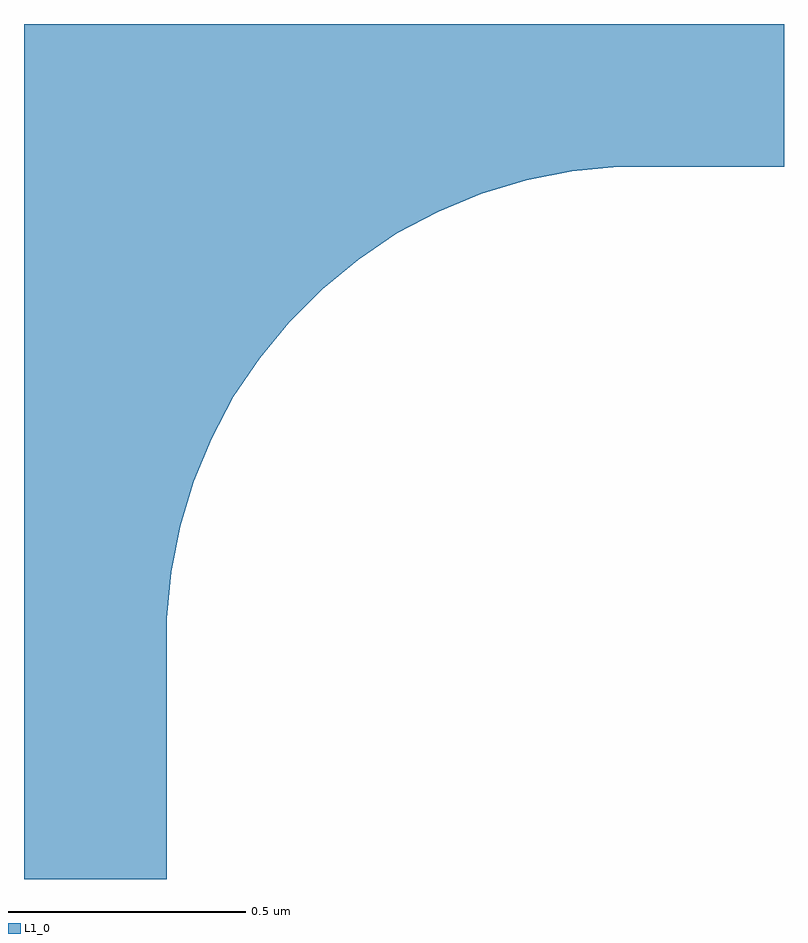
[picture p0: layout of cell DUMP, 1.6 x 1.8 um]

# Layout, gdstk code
import gdstk
lib = gdstk.Library(unit=1e-6, precision=1e-09)
def P(c, l, *ps):  # polygons
    for p in ps: c.add(gdstk.Polygon(p, *l))
L1_0 = (1, 0)
L10_0 = (10, 0)

dump = lib.new_cell('DUMP')
P(dump, L1_0, [(-1.228,1.605),(-1.377,1.782),(-1.3,2),(-1.149,1.853),(-1.137,1.643)],
  [(-1.137,1.643),(-1.149,1.853),(-1.043,1.671)],
  [(-0.947,1.69),(-1.149,1.853),(-1.3,2),(-0.9,2),(-0.849,1.7)],
  [(-1.989,0.818),(-2.1,1.1),(-1.906,1.158),(-1.743,1.037),(-1.771,0.943)],
  [(-1.802,1.702),(-2.1,2),(-1.3,2),(-1.377,1.782)],
  [(-1.743,1.037),(-1.906,1.158),(-1.705,1.128)],
  [(-1.705,1.128),(-1.906,1.158),(-1.829,1.39),(-1.659,1.215)],
  [(-2.1,0.2),(-2.1,0.65),(-1.989,0.818),(-1.8,0.749),(-1.8,0.2)],
  [(-1.604,1.296),(-1.829,1.39),(-1.802,1.702),(-1.653,1.553),(-1.542,1.372)],
  [(-1.315,1.559),(-1.377,1.782),(-1.228,1.605)],
  [(-0.849,1.7),(-0.9,2),(-0.5,2),(-0.5,1.7)],
  [(-1.653,1.553),(-1.802,1.702),(-1.377,1.782)],
  [(-1.659,1.215),(-1.829,1.39),(-1.604,1.296)],
  [(-1.396,1.504),(-1.653,1.553),(-1.377,1.782),(-1.315,1.559)],
  [(-2.1,1.1),(-2.1,2),(-1.802,1.702),(-1.829,1.39),(-1.906,1.158)],
  [(-1.542,1.372),(-1.653,1.553),(-1.472,1.442)],
  [(-1.043,1.671),(-1.149,1.853),(-0.947,1.69)],
  [(-1.472,1.442),(-1.653,1.553),(-1.396,1.504)],
  [(-2.1,0.65),(-2.1,1.1),(-1.989,0.818)],
  [(-1.989,0.818),(-1.771,0.943),(-1.79,0.847)],
  [(-1.8,0.749),(-1.989,0.818),(-1.79,0.847)])
dump.add(gdstk.FlexPath([(-0.5,1.7),(-0.849,1.7)], 0, ends="flush", simple_path=True, layer=10, datatype=0))  # L10_0
dump.add(gdstk.FlexPath([(-2.1,2),(-1.3,2)], 0, ends="flush", simple_path=True, layer=10, datatype=0))  # L10_0
dump.add(gdstk.FlexPath([(-0.5,2),(-0.5,1.7)], 0, ends="flush", simple_path=True, layer=10, datatype=0))  # L10_0
dump.add(gdstk.FlexPath([(-1.705,1.128),(-1.743,1.037)], 0, ends="flush", simple_path=True, layer=10, datatype=0))  # L10_0
dump.add(gdstk.FlexPath([(-0.849,1.7),(-0.947,1.69)], 0, ends="flush", simple_path=True, layer=10, datatype=0))  # L10_0
dump.add(gdstk.FlexPath([(-0.947,1.69),(-1.043,1.671)], 0, ends="flush", simple_path=True, layer=10, datatype=0))  # L10_0
dump.add(gdstk.FlexPath([(-1.043,1.671),(-1.137,1.643)], 0, ends="flush", simple_path=True, layer=10, datatype=0))  # L10_0
dump.add(gdstk.FlexPath([(-1.137,1.643),(-1.228,1.605)], 0, ends="flush", simple_path=True, layer=10, datatype=0))  # L10_0
dump.add(gdstk.FlexPath([(-1.228,1.605),(-1.315,1.559)], 0, ends="flush", simple_path=True, layer=10, datatype=0))  # L10_0
dump.add(gdstk.FlexPath([(-1.315,1.559),(-1.396,1.504)], 0, ends="flush", simple_path=True, layer=10, datatype=0))  # L10_0
dump.add(gdstk.FlexPath([(-1.396,1.504),(-1.472,1.442)], 0, ends="flush", simple_path=True, layer=10, datatype=0))  # L10_0
dump.add(gdstk.FlexPath([(-1.472,1.442),(-1.542,1.372)], 0, ends="flush", simple_path=True, layer=10, datatype=0))  # L10_0
dump.add(gdstk.FlexPath([(-1.542,1.372),(-1.604,1.296)], 0, ends="flush", simple_path=True, layer=10, datatype=0))  # L10_0
dump.add(gdstk.FlexPath([(-1.604,1.296),(-1.659,1.215)], 0, ends="flush", simple_path=True, layer=10, datatype=0))  # L10_0
dump.add(gdstk.FlexPath([(-1.659,1.215),(-1.705,1.128)], 0, ends="flush", simple_path=True, layer=10, datatype=0))  # L10_0
dump.add(gdstk.FlexPath([(-1.743,1.037),(-1.771,0.943)], 0, ends="flush", simple_path=True, layer=10, datatype=0))  # L10_0
dump.add(gdstk.FlexPath([(-1.771,0.943),(-1.79,0.847)], 0, ends="flush", simple_path=True, layer=10, datatype=0))  # L10_0
dump.add(gdstk.FlexPath([(-1.79,0.847),(-1.8,0.749)], 0, ends="flush", simple_path=True, layer=10, datatype=0))  # L10_0
dump.add(gdstk.FlexPath([(-2.1,0.2),(-1.8,0.2)], 0, ends="flush", simple_path=True, layer=10, datatype=0))  # L10_0
dump.add(gdstk.FlexPath([(-1.8,0.749),(-1.8,0.2)], 0, ends="flush", simple_path=True, layer=10, datatype=0))  # L10_0
dump.add(gdstk.FlexPath([(-2.1,0.2),(-2.1,0.65)], 0, ends="flush", simple_path=True, layer=10, datatype=0))  # L10_0
dump.add(gdstk.FlexPath([(-2.1,2),(-2.1,1.1)], 0, ends="flush", simple_path=True, layer=10, datatype=0))  # L10_0
dump.add(gdstk.FlexPath([(-0.5,2),(-0.9,2)], 0, ends="flush", simple_path=True, layer=10, datatype=0))  # L10_0
dump.add(gdstk.FlexPath([(-2.1,1.1),(-2.1,0.65)], 0, ends="flush", simple_path=True, layer=10, datatype=0))  # L10_0
dump.add(gdstk.FlexPath([(-1.3,2),(-0.9,2)], 0, ends="flush", simple_path=True, layer=10, datatype=0))  # L10_0

lib.write_gds('DUMP.gds')
